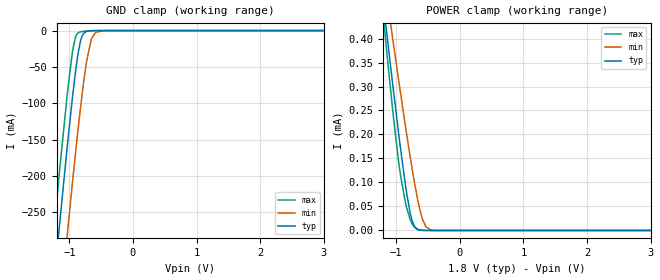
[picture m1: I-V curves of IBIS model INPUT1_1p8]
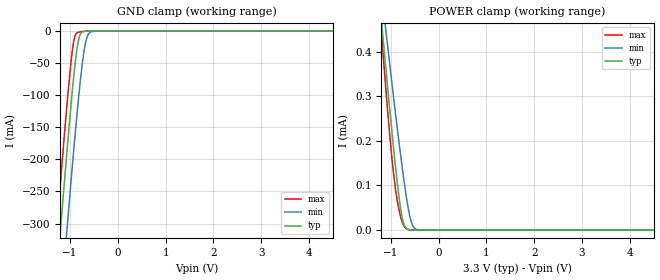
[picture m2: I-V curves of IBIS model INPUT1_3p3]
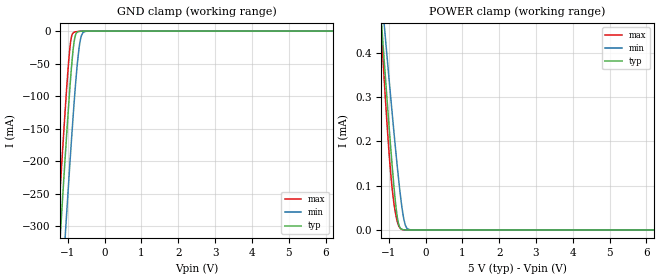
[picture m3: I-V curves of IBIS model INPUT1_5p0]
|Texas Instruments Incorporated
|DACx1408 8-Channel, 16-,14-,12-Bit, High-Voltage Output DACs with
|Internal Reference
|DACx1416 16-Channel, 16-,14-,12-Bit, High-Voltage Output DACs with
|Internal Reference
[IBIS Ver]   4.1
[File name]   dac81416.ibs
[Date]   08/23/2018
[File Rev]   1.0
[Source]
| Texas Instruments Incorporated.
| Analog-eLab Design Center, HPA
| 12500 TI Blvd
| Dallas, TX -75243
[Notes]   Revision History:
| Rev 1.0: 08/23/2018
| - Initial version of the model
| - Model generated from simulations in SPECTRE
| - Warnings regarding combined Non-monotonicity of various models
|   have been reviewed and considered minor and can be ignored.
| - C_comp although listed in numerical order of value are
|   obtained from varying PVT conditions. For PVT conditions for
|   each specific value refer the buffer description under
|   respective [Model]. IBIS model user is responsible for using
|   appropriate C_comp to simulate for Signal Integrity.
| - Notes regarding non-monotonicity of various models
|   have been reviewed and considered minor and can be ignored.
| - Model names with a trailing _1p8 contain the model for 1.8V operation.
|   Model names with a trailing _3p3 contain the model for 3.3V operation.
|   Model names with a trailing _5p0 contain the model for 5.0V operation.
[Disclaimer]
| This model is designed as an aid for customers of Texas Instruments.
| TI and its licensors and suppliers make no warranties, either expressed
| or implied, with respect to this  model, including the warranties of
| merchantability or fitness for a particular purpose. The model is
| provided solely on an "as is" basis. The entire risk as to its quality
| and performance is with the customer.
| This model is subject to change without notice. Texas Instruments
| Incorporated is not responsible for updating this model.
[Copyright]
(C) Copyright 2018 Texas Instruments Incorporated.All rights reserved.
|  Component DAC81416RHA 40-pin VQFN - RHA package
|  Part # DAC81416RHA
[Component]   DAC81416RHA
[Manufacturer]  TI
[Package]   |40-pin VQFN - RHA package
|   typ   min   max
R_pkg   0.05   0.04   0.06
L_pkg   1.0nH   0.8nH   1.2nH
C_pkg   0.2pF   0.16pF   0.24pF
[Pin] signal_name  model_name   R_pin   L_pin   C_pin
1   OUT0   NC   NA   NA   NA
2   OUT1   NC   NA   NA   NA
3   OUT2   NC   NA   NA   NA
4   OUT3   NC   NA   NA   NA
5   OUT4   NC   NA   NA   NA
6   OUT5   NC   NA   NA   NA
7   OUT6   NC   NA   NA   NA
8   OUT7   NC   NA   NA   NA
9   VIO   POWER   NA   NA   NA
10   GND   GND   NA   NA   NA
11   SDO   OUTPUT   NA   NA   NA
12   SCLK   INPUT1   NA   NA   NA
13   SDI   INPUT1   NA   NA   NA
14   CSZ   INPUT1   NA   NA   NA
15   TOGGLE0   INPUT1   NA   NA   NA
16   TOGGLE1   INPUT1   NA   NA   NA
17   TOGGLE2   INPUT1   NA   NA   NA
18   LDACZ   INPUT1   NA   NA   NA
19   RESETZ   INPUT2   NA   NA   NA
20   CLRZ   INPUT1   NA   NA   NA
21   ALMOUTZ   OPEN_SINK   NA   NA   NA
22   TEMPOUT   NC   NA   NA   NA
23   OUT8   NC   NA   NA   NA
24   OUT9   NC   NA   NA   NA
25   OUT10   NC   NA   NA   NA
26   OUT11   NC   NA   NA   NA
27   OUT12   NC   NA   NA   NA
28   OUT13   NC   NA   NA   NA
29   OUT14   NC   NA   NA   NA
30   OUT15   NC   NA   NA   NA
31   VCC   POWER   NA   NA   NA
32   VSS   GND   NA   NA   NA
33   REF   NC   NA   NA   NA
34   REFCMP   NC   NA   NA   NA
35   REFGND   GND   NA   NA   NA
36   GND   GND   NA   NA   NA
37   VAA   POWER   NA   NA   NA
38   VDD   POWER   NA   NA   NA
39   VSS   GND   NA   NA   NA
40   VCC   POWER   NA   NA   NA
[Model Selector] INPUT1
INPUT1_1p8   1.8V  digital Input
INPUT1_3p3   3.3V  digital Input
INPUT1_5p0   5.0V  digital Input
[Model Selector] INPUT2
INPUT2_1p8   1.8V  digital Input
INPUT2_3p3   3.3V  digital Input
INPUT2_5p0   5.0V  digital Input
[Model Selector] OUTPUT
OUTPUT_1p8   1.8V  digital Output
OUTPUT_3p3   3.3V  digital Output
OUTPUT_5p0   5.0V  digital Output
[Model Selector] OPEN_SINK
OPEN_SINK_1p8   1.8V  digital Output_Open_Sink
OPEN_SINK_3p3   3.3V  digital Output_Open_Sink
OPEN_SINK_5p0   5.0V  digital Output_Open_Sink
| Models and submodels in the file (12): INPUT1_1p8 (Input), INPUT1_3p3 (Input), INPUT1_5p0 (Input), INPUT2_1p8 (Input), INPUT2_3p3 (Input), INPUT2_5p0 (Input), OPEN_SINK_1p8 (Open_sink), OPEN_SINK_3p3 (Open_sink), OPEN_SINK_5p0 (Open_sink), OUTPUT_1p8 (3-state), OUTPUT_3p3 (3-state), OUTPUT_5p0 (3-state)
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|   INPUT1_1p8 Model
[Model]   INPUT1_1p8
Model_type   Input
Vinl = 0.54
Vinh = 1.26
|   typ   min   max
C_comp   2.151E-13   2.146E-13  2.184E-13
|  Where Nom  PVT is Nominal Process, 1.8V,  25C
|   Fast PVT is Strong Process,  1.95, -40C
|   Slow PVT is Weak Process,   1.65V, 125C
[Model spec]
|subparameter
Vinl   0.54   0.495   0.585
Vinh   1.26   1.155   1.365
[Voltage Range]   1.8   1.65   1.95
|Junction Temperature
[Temperature Range]   25   125   -40
[Power Clamp Reference]   1.8   1.65   1.95
[GND Clamp Reference]   0   0   0
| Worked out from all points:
|   GND clamp passes 1 mA (typ) near -0.73 V on its own axis
[GND Clamp]
|   Voltage   I(typ)   I(min)   I(max)
-1.8V     -883.9mA   -1.006A    -811.4mA
-1.427V   -524.7mA   -648.1mA   -450.7mA
-1.201V   -311.4mA   -435mA     -236.9mA
-1.174V   -286.5mA   -410mA     -212.2mA
-1.044V   -170.3mA   -292.1mA   -98.33mA
-1.006V   -138mA     -258.5mA   -68.15mA
-941.4mV  -85.61mA   -202.1mA   -24.93mA
-860.4mV  -31.15mA   -135mA     -3.103mA
-801mV    -8.153mA   -89.7mA    -1.349mA
-725.4mV  -937uA     -41.08mA   -618.4uA
-585mV    -41.18uA   -2.277mA   -66.82uA
3.6V      0A         0A         0A
[POWER Clamp]
|   Voltage   I(typ)   I(min)   I(max)
-1.8V     1.192mA    1.122mA    1.318mA
-1.211V   485.8uA    548.7uA    461uA
-1.152V   416.7uA    492.1uA    379.1uA
-1.06V    311.7uA    405.5uA    258uA
-936mV    176uA      290.8uA    119.1uA
-855mV    96.02uA    218.5uA    58.44uA
-779.4mV  36.64uA    153.9uA    23.06uA
-671.4mV  2.969uA    71.1uA     2.673uA
-595.8mV  374.2nA    27.52uA    346.6nA
-531mV    58.4nA     7.465uA    41.21nA
-433.8mV  761.5pA    547.8nA    0A
3.6V      0A         0A         0A
|   INPUT1_3p3 Model
[Model]   INPUT1_3p3
Model_type   Input
Vinl = 0.99
Vinh = 2.31
|   typ   min   max
C_comp   1.889E-13   1.886E-13  1.921E-13
|  Where Nom  PVT is Nominal Process, 3.3V,   25C
|   Fast PVT is Strong Process,  3.6V,  -40C
|   Slow PVT is Weak Process,   3.0V,  125C
[Model spec]
|subparameter
Vinl   0.99   0.9   1.08
Vinh   2.31   2.1   2.52
[Voltage Range]   3.3   3   3.6
|Junction Temperature
[Temperature Range]   25   125   -40
[Power Clamp Reference]   3.3   3   3.6
[GND Clamp Reference]   0   0   0
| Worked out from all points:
|   GND clamp passes 1 mA (typ) near -0.73 V on its own axis
|   POWER clamp passes 1 mA (typ) near -1.64 V on its own axis
[GND Clamp]
|   Voltage   I(typ)   I(min)   I(max)
-3.3V     -2.359A    -2.475A    -2.29A
-1.32V    -422.9mA   -546.5mA   -348.5mA
-1.27V    -376.4mA   -500.1mA   -301.9mA
-1.201V   -311.9mA   -435.5mA   -237.5mA
-1.063V   -186.6mA   -308.8mA   -113.9mA
-943.8mV  -87.46mA   -204.2mA   -26.22mA
-844.8mV  -23.29mA   -122.7mA   -2.318mA
-785.4mV  -5.228mA   -78.64mA   -1.156mA
-686.4mV  -363.6uA   -22.68mA   -383.2uA
-627mV    -101.3uA   -6.575mA   -152.2uA
-537.9mV  -14.12uA   -653uA     -22.83uA
6.6V      0A         0A         0A
[POWER Clamp]
|   Voltage   I(typ)   I(min)   I(max)
-3.3V     3.037mA    2.618mA    3.572mA
-1.27V    555.2uA    605.4uA    544.1uA
-1.191V   462.3uA    529.5uA    433uA
-1.102V   359.4uA    445uA      312.3uA
-993.3mV  237.3uA    343.3uA    177.8uA
-904.2mV  143.4uA    262.1uA    92.06uA
-775.5mV  34.27uA    150.7uA    21.73uA
-716.1mV  9.616uA    103.4uA    7.391uA
-656.7mV  1.989uA    61.33uA    1.851uA
-547.8mV  94.27nA    10.98uA    73.03nA
-409.2mV  0A         268.9nA    0A
6.6V      0A         0A         0A
|   INPUT1_5p0 Model
[Model]   INPUT1_5p0
Model_type   Input
Vinl = 1.5
Vinh = 3.5
|   typ   min   max
C_comp   1.720E-13  1.689E-13  1.748E-13
|  Where Nom  PVT is Nominal Process, 5V,  25C
|   Fast PVT is Strong Process,  5.5, -40C
|   Slow PVT is Weak Process,   4.5V, 125C
[Model spec]
|subparameter
Vinl   0.54   0.495   0.585
Vinh   1.26   1.155   1.365
[Voltage Range]   5   4.5   5.5
|Junction Temperature
[Temperature Range]   25   125   -40
[Power Clamp Reference]   5   4.5   5.5
[GND Clamp Reference]   0   0   0
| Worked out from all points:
|   GND clamp passes 1 mA (typ) near -0.72 V on its own axis
|   POWER clamp passes 1 mA (typ) near -1.64 V on its own axis
[GND Clamp]
|   Voltage   I(typ)   I(min)   I(max)
-5V       -4.045A    -4.157A    -3.979A
-1.43V    -527.2mA   -650.5mA   -453.2mA
-1.25V    -357.2mA   -480.9mA   -282.7mA
-1.16V    -274.1mA   -397.5mA   -199.8mA
-1.07V    -193.1mA   -315.4mA   -120.2mA
-935mV    -80.74mA   -196.7mA   -21.67mA
-830mV    -16.98mA   -111.3mA   -1.867mA
-740mV    -1.391mA   -49.34mA   -727.1uA
-680mV    -315.1uA   -20.24mA   -351.3uA
-620mV    -87.35uA   -5.551mA   -134uA
-515mV    -8.108uA   -354.9uA   -12.86uA
10V       0A         0A         0A
[POWER Clamp]
|   Voltage   I(typ)   I(min)   I(max)
-5V       5.146mA    4.329mA    6.147mA
-1.235V   513.4uA    571.3uA    494uA
-1.145V   408.6uA    485.5uA    369.6uA
-1.07V    322.8uA    414.7uA    270.5uA
-980mV    222.9uA    331.1uA    163.1uA
-905mV    144.2uA    262.9uA    92.69uA
-770mV    31.08uA    146.1uA    19.93uA
-710mV    8.245uA    98.82uA    6.493uA
-650mV    1.655uA    57.06uA    1.557uA
-545mV    85nA       10.32uA    64.5nA
-410mV    0A         273.5nA    0A
10V       0A         0A         0A
